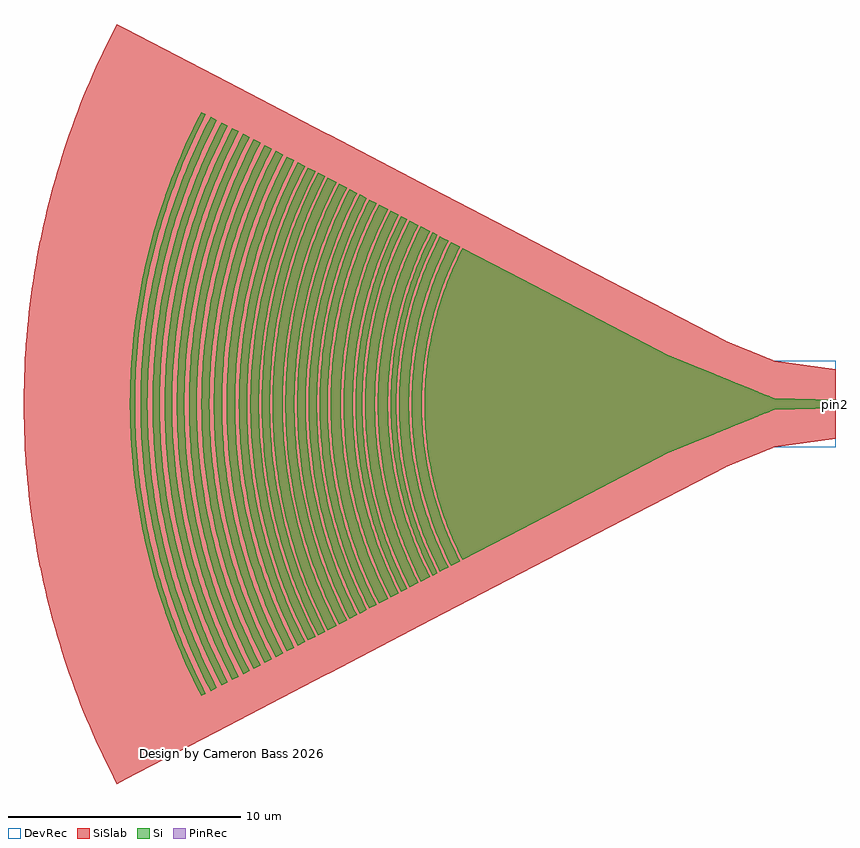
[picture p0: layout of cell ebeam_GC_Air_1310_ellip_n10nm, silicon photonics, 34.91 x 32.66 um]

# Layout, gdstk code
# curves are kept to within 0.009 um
import gdstk
lib = gdstk.Library(unit=1e-6, precision=1e-09)
def P(c, l, *ps):  # polygons
    for p in ps: c.add(gdstk.Polygon(p, *l))
Si = (1, 0)
PinRec = (1, 10)
SiSlab = (2, 0)
DevRec = (68, 0)

ebeam_gc_air_1310_ellip_ = lib.new_cell('ebeam_GC_Air_1310_ellip_n10nm')
P(ebeam_gc_air_1310_ellip_, Si, [(-16.044,-6.702),(-16.401,-5.965),(-16.775,-5.049),(-17.003,-4.381),(-17.268,-3.429),(-17.444,-2.599),(-17.571,-1.762),(-17.649,-0.917),(-17.677,-0.071),(-17.649,0.917),(-17.571,1.762),(-17.444,2.6),(-17.268,3.429),(-17.003,4.381),(-16.775,5.049),(-16.401,5.965),(-16.044,6.702),(-7.155,2.074),(-3.189,0.455),(-2.881,0.341),(-2.696,0.253),(-2.65,0.24),(0,0.175),(0,-0.175),(-2.68,-0.247),(-2.85,-0.328),(-3.204,-0.461),(-7.127,-2.061)],
  [(-16.536,-6.957),(-16.904,-6.195),(-17.241,-5.381),(-17.485,-4.69),(-17.769,-3.704),(-17.96,-2.844),(-18.1,-1.975),(-18.199,-0.953),(-18.229,-0.073),(-18.208,0.806),(-18.118,1.83),(-17.987,2.7),(-17.804,3.561),(-17.572,4.41),(-17.292,5.245),(-16.904,6.195),(-16.536,6.958),(-16.151,6.758),(-16.51,6.014),(-16.837,5.225),(-17.118,4.418),(-17.385,3.457),(-17.562,2.622),(-17.69,1.776),(-17.777,0.784),(-17.797,0.071),(-17.777,-0.784),(-17.69,-1.776),(-17.562,-2.621),(-17.385,-3.457),(-17.118,-4.418),(-16.837,-5.225),(-16.51,-6.014),(-16.151,-6.758)],
  [(-17.017,-7.208),(-17.398,-6.419),(-17.747,-5.576),(-18,-4.859),(-18.294,-3.837),(-18.491,-2.947),(-18.636,-2.047),(-18.729,-1.139),(-18.756,-0.683),(-18.77,-0.076),(-18.748,0.835),(-18.673,1.745),(-18.616,2.198),(-18.519,2.797),(-18.33,3.69),(-18.09,4.569),(-17.8,5.434),(-17.398,6.419),(-17.017,7.208),(-16.642,7.014),(-17.073,6.109),(-17.404,5.287),(-17.688,4.445),(-17.922,3.589),(-18.105,2.722),(-18.238,1.844),(-18.319,0.961),(-18.349,0.074),(-18.328,-0.813),(-18.238,-1.844),(-18.105,-2.722),(-17.922,-3.589),(-17.688,-4.445),(-17.404,-5.286),(-17.073,-6.109),(-16.642,-7.014)],
  [(-17.337,-7.375),(-17.727,-6.567),(-18.084,-5.705),(-18.343,-4.972),(-18.644,-3.926),(-18.846,-3.015),(-18.927,-2.555),(-19.014,-1.94),(-19.1,-1.01),(-19.131,-0.078),(-19.109,0.855),(-19.014,1.94),(-18.874,2.862),(-18.681,3.776),(-18.435,4.675),(-18.139,5.559),(-17.971,5.995),(-17.727,6.568),(-17.337,7.375),(-17.124,7.264),(-17.569,6.328),(-17.803,5.763),(-17.964,5.332),(-18.114,4.897),(-18.292,4.311),(-18.411,3.867),(-18.549,3.27),(-18.713,2.366),(-18.809,1.606),(-18.868,0.843),(-18.89,0.077),(-18.868,-0.843),(-18.809,-1.606),(-18.713,-2.366),(-18.549,-3.27),(-18.292,-4.311),(-18.114,-4.897),(-17.964,-5.331),(-17.803,-5.762),(-17.569,-6.328),(-17.124,-7.264)],
  [(-17.833,-7.633),(-18.301,-6.65),(-18.662,-5.754),(-18.969,-4.839),(-19.223,-3.908),(-19.423,-2.962),(-19.567,-2.008),(-19.656,-1.045),(-19.689,-0.08),(-19.665,0.886),(-19.586,1.848),(-19.451,2.804),(-19.33,3.437),(-19.223,3.908),(-18.969,4.839),(-18.662,5.754),(-18.488,6.205),(-18.236,6.798),(-17.833,7.633),(-17.444,7.431),(-17.9,6.474),(-18.195,5.749),(-18.505,4.86),(-18.761,3.956),(-18.993,2.884),(-19.133,1.954),(-19.197,1.331),(-19.229,0.862),(-19.251,0.078),(-19.229,-0.862),(-19.197,-1.331),(-19.133,-1.954),(-18.993,-2.884),(-18.798,-3.803),(-18.681,-4.259),(-18.505,-4.86),(-18.195,-5.749),(-17.9,-6.474),(-17.444,-7.431)],
  [(-18.313,-7.883),(-18.73,-7.019),(-18.99,-6.407),(-19.169,-5.942),(-19.487,-4.997),(-19.749,-4.035),(-19.955,-3.059),(-20.105,-2.073),(-20.196,-1.08),(-20.23,-0.083),(-20.206,0.914),(-20.124,1.908),(-19.984,2.895),(-19.788,3.874),(-19.625,4.518),(-19.487,4.997),(-19.169,5.943),(-18.99,6.407),(-18.73,7.02),(-18.313,7.883),(-17.941,7.69),(-18.347,6.847),(-18.539,6.401),(-18.775,5.797),(-19.086,4.875),(-19.342,3.936),(-19.543,2.984),(-19.688,2.022),(-19.778,1.054),(-19.811,0.081),(-19.787,-0.891),(-19.707,-1.861),(-19.571,-2.825),(-19.482,-3.303),(-19.342,-3.935),(-19.221,-4.407),(-19.038,-5.029),(-18.718,-5.949),(-18.347,-6.847),(-17.941,-7.69)],
  [(-18.675,-8.071),(-18.96,-7.495),(-19.171,-7.03),(-19.552,-6.084),(-19.877,-5.116),(-20.146,-4.131),(-20.357,-3.132),(-20.51,-2.122),(-20.604,-1.105),(-20.638,-0.085),(-20.614,0.935),(-20.53,1.954),(-20.387,2.964),(-20.259,3.633),(-20.146,4.131),(-19.877,5.116),(-19.552,6.084),(-19.171,7.031),(-18.96,7.496),(-18.675,8.071),(-18.42,7.94),(-18.7,7.373),(-18.974,6.762),(-19.339,5.827),(-19.503,5.352),(-19.697,4.712),(-19.827,4.226),(-19.978,3.574),(-20.157,2.585),(-20.262,1.755),(-20.327,0.921),(-20.351,0.084),(-20.327,-0.921),(-20.262,-1.755),(-20.157,-2.585),(-20.012,-3.41),(-19.906,-3.9),(-19.742,-4.55),(-19.554,-5.192),(-19.395,-5.669),(-19.163,-6.297),(-18.974,-6.762),(-18.7,-7.373),(-18.42,-7.939)],
  [(-19.133,-8.31),(-19.573,-7.399),(-19.848,-6.753),(-20.037,-6.263),(-20.371,-5.267),(-20.648,-4.253),(-20.865,-3.224),(-21.023,-2.185),(-21.119,-1.138),(-21.155,-0.088),(-21.145,0.614),(-21.119,1.138),(-21.023,2.185),(-20.865,3.224),(-20.648,4.253),(-20.371,5.267),(-20.037,6.263),(-19.644,7.239),(-19.427,7.717),(-19.133,8.31),(-18.783,8.128),(-19.213,7.236),(-19.481,6.605),(-19.665,6.126),(-19.994,5.151),(-20.265,4.159),(-20.477,3.154),(-20.631,2.137),(-20.725,1.114),(-20.76,0.086),(-20.735,-0.943),(-20.651,-1.967),(-20.507,-2.985),(-20.413,-3.49),(-20.265,-4.159),(-19.994,-5.151),(-19.781,-5.802),(-19.605,-6.286),(-19.213,-7.235),(-18.783,-8.128)],
  [(-19.632,-8.57),(-20.084,-7.632),(-20.499,-6.63),(-20.799,-5.778),(-20.958,-5.26),(-21.149,-4.563),(-21.383,-3.504),(-21.556,-2.434),(-21.666,-1.354),(-21.697,-0.814),(-21.715,-0.09),(-21.689,0.993),(-21.599,2.075),(-21.448,3.148),(-21.312,3.858),(-21.192,4.388),(-20.907,5.433),(-20.684,6.121),(-20.499,6.63),(-20.084,7.632),(-19.632,8.57),(-19.241,8.367),(-19.536,7.769),(-19.755,7.287),(-20.088,6.471),(-20.488,5.303),(-20.724,4.452),(-20.952,3.42),(-21.121,2.375),(-21.199,1.674),(-21.24,1.146),(-21.276,0.088),(-21.271,-0.441),(-21.24,-1.146),(-21.143,-2.199),(-20.985,-3.246),(-20.766,-4.281),(-20.488,-5.302),(-20.268,-5.973),(-20.088,-6.471),(-19.755,-7.287),(-19.241,-8.367)],
  [(-20.047,-8.786),(-20.512,-7.822),(-20.802,-7.14),(-21.002,-6.622),(-21.187,-6.098),(-21.355,-5.568),(-21.648,-4.497),(-21.878,-3.409),(-22.044,-2.31),(-22.146,-1.203),(-22.184,-0.093),(-22.157,1.018),(-22.066,2.126),(-21.996,2.678),(-21.878,3.409),(-21.648,4.497),(-21.355,5.568),(-21.187,6.098),(-21.002,6.622),(-20.587,7.653),(-20.357,8.159),(-20.047,8.786),(-19.743,8.628),(-19.968,8.176),(-20.272,7.516),(-20.55,6.844),(-20.741,6.332),(-20.974,5.643),(-21.179,4.945),(-21.356,4.239),(-21.472,3.705),(-21.629,2.81),(-21.743,1.907),(-21.814,1.001),(-21.84,0.091),(-21.83,-0.636),(-21.761,-1.726),(-21.656,-2.629),(-21.472,-3.705),(-21.356,-4.238),(-21.179,-4.945),(-20.974,-5.642),(-20.741,-6.332),(-20.55,-6.843),(-20.272,-7.515),(-20.046,-8.012),(-19.743,-8.628)],
  [(-20.467,-9.005),(-20.945,-8.015),(-21.381,-6.962),(-21.753,-5.887),(-22.064,-4.791),(-22.195,-4.237),(-22.345,-3.493),(-22.515,-2.367),(-22.62,-1.233),(-22.659,-0.095),(-22.631,1.043),(-22.537,2.179),(-22.378,3.306),(-22.274,3.866),(-22.109,4.608),(-21.809,5.706),(-21.637,6.248),(-21.381,6.962),(-20.945,8.015),(-20.467,9.005),(-20.155,8.843),(-20.467,8.21),(-20.772,7.53),(-21.05,6.839),(-21.241,6.312),(-21.417,5.782),(-21.627,5.067),(-21.81,4.343),(-21.928,3.797),(-22.089,2.879),(-22.206,1.954),(-22.278,1.025),(-22.305,0.093),(-22.287,-0.838),(-22.224,-1.769),(-22.089,-2.879),(-21.928,-3.797),(-21.81,-4.343),(-21.627,-5.067),(-21.417,-5.782),(-21.241,-6.312),(-21.05,-6.838),(-20.772,-7.53),(-20.467,-8.21),(-20.155,-8.843)],
  [(-20.902,-9.231),(-21.393,-8.213),(-21.839,-7.135),(-22.163,-6.218),(-22.389,-5.474),(-22.54,-4.91),(-22.674,-4.342),(-22.828,-3.579),(-23.003,-2.426),(-23.11,-1.263),(-23.149,-0.097),(-23.144,0.487),(-23.11,1.263),(-23.003,2.426),(-22.828,3.58),(-22.586,4.722),(-22.279,5.847),(-22.102,6.403),(-21.908,6.953),(-21.472,8.036),(-21.23,8.567),(-20.902,9.231),(-20.579,9.063),(-20.901,8.411),(-21.213,7.714),(-21.498,7.006),(-21.694,6.467),(-21.875,5.923),(-22.09,5.191),(-22.233,4.635),(-22.398,3.89),(-22.563,2.95),(-22.683,2.002),(-22.757,1.051),(-22.785,0.096),(-22.766,-0.859),(-22.702,-1.812),(-22.591,-2.76),(-22.398,-3.89),(-22.233,-4.635),(-22.09,-5.191),(-21.875,-5.923),(-21.694,-6.467),(-21.498,-7.006),(-21.213,-7.714),(-20.901,-8.411),(-20.579,-9.063)],
  [(-21.353,-9.466),(-21.69,-8.786),(-21.937,-8.24),(-22.169,-7.688),(-22.384,-7.13),(-22.583,-6.566),(-22.765,-5.996),(-23.08,-4.842),(-23.328,-3.671),(-23.507,-2.488),(-23.617,-1.295),(-23.646,-0.698),(-23.657,-0.1),(-23.652,0.499),(-23.617,1.296),(-23.507,2.488),(-23.328,3.671),(-23.08,4.842),(-22.765,5.996),(-22.384,7.131),(-22.169,7.689),(-21.937,8.241),(-21.69,8.786),(-21.353,9.466),(-21.009,9.287),(-21.255,8.795),(-21.582,8.084),(-21.809,7.543),(-22.087,6.811),(-22.278,6.256),(-22.506,5.507),(-22.704,4.749),(-22.874,3.986),(-23.043,3.023),(-23.166,2.051),(-23.242,1.076),(-23.27,0.098),(-23.251,-0.88),(-23.185,-1.857),(-23.072,-2.828),(-22.874,-3.985),(-22.704,-4.749),(-22.506,-5.507),(-22.338,-6.069),(-22.087,-6.811),(-21.809,-7.543),(-21.582,-8.084),(-21.339,-8.618),(-21.009,-9.287)],
  [(-21.841,-9.719),(-22.097,-9.208),(-22.439,-8.463),(-22.677,-7.896),(-22.898,-7.322),(-23.103,-6.744),(-23.289,-6.158),(-23.46,-5.567),(-23.613,-4.973),(-23.749,-4.373),(-23.867,-3.77),(-24.051,-2.555),(-24.164,-1.33),(-24.194,-0.717),(-24.205,-0.102),(-24.176,1.127),(-24.075,2.352),(-23.968,3.163),(-23.867,3.77),(-23.749,4.373),(-23.613,4.973),(-23.46,5.568),(-23.289,6.158),(-23.103,6.744),(-22.898,7.323),(-22.677,7.896),(-22.439,8.463),(-22.097,9.208),(-21.841,9.72),(-21.46,9.522),(-21.799,8.837),(-22.047,8.289),(-22.497,7.172),(-22.881,6.032),(-23.198,4.87),(-23.447,3.693),(-23.627,2.502),(-23.691,1.904),(-23.737,1.304),(-23.778,0.1),(-23.749,-1.104),(-23.691,-1.904),(-23.627,-2.502),(-23.447,-3.693),(-23.198,-4.87),(-22.881,-6.032),(-22.497,-7.172),(-22.047,-8.289),(-21.799,-8.837),(-21.46,-9.522)],
  [(-22.255,-9.935),(-22.517,-9.411),(-22.867,-8.65),(-23.336,-7.485),(-23.545,-6.892),(-23.736,-6.294),(-24.067,-5.083),(-24.326,-3.853),(-24.429,-3.233),(-24.514,-2.611),(-24.581,-1.986),(-24.63,-1.36),(-24.66,-0.733),(-24.672,-0.105),(-24.666,0.524),(-24.642,1.152),(-24.539,2.403),(-24.46,3.027),(-24.363,3.647),(-24.248,4.265),(-24.067,5.083),(-23.736,6.294),(-23.545,6.893),(-23.336,7.485),(-23.11,8.071),(-22.867,8.65),(-22.517,9.411),(-22.255,9.935),(-21.948,9.776),(-22.294,9.074),(-22.549,8.512),(-22.864,7.751),(-23.081,7.171),(-23.282,6.587),(-23.521,5.799),(-23.681,5.201),(-23.867,4.398),(-23.986,3.792),(-24.087,3.182),(-24.216,2.16),(-24.296,1.133),(-24.326,0.103),(-24.32,-0.515),(-24.296,-1.132),(-24.216,-2.16),(-24.087,-3.181),(-23.986,-3.792),(-23.867,-4.398),(-23.681,-5.201),(-23.521,-5.798),(-23.282,-6.586),(-23.081,-7.171),(-22.788,-7.942),(-22.549,-8.511),(-22.294,-9.074),(-21.948,-9.776)],
  [(-22.689,-10.161),(-22.959,-9.623),(-23.317,-8.844),(-23.566,-8.252),(-23.797,-7.653),(-24.01,-7.047),(-24.205,-6.436),(-24.384,-5.818),(-24.544,-5.197),(-24.686,-4.57),(-24.809,-3.94),(-24.915,-3.306),(-25.002,-2.67),(-25.07,-2.031),(-25.12,-1.39),(-25.151,-0.75),(-25.163,-0.107),(-25.157,0.536),(-25.132,1.177),(-25.089,1.818),(-25.027,2.457),(-24.946,3.095),(-24.847,3.729),(-24.686,4.57),(-24.544,5.197),(-24.384,5.818),(-24.205,6.436),(-24.01,7.048),(-23.797,7.653),(-23.566,8.252),(-23.317,8.845),(-22.959,9.623),(-22.689,10.161),(-22.365,9.993),(-22.72,9.274),(-22.981,8.699),(-23.303,7.921),(-23.524,7.329),(-23.794,6.531),(-23.974,5.926),(-24.138,5.315),(-24.328,4.495),(-24.52,3.461),(-24.663,2.417),(-24.754,1.368),(-24.785,0.737),(-24.797,0.105),(-24.777,-0.947),(-24.74,-1.578),(-24.685,-2.207),(-24.553,-3.251),(-24.328,-4.495),(-24.138,-5.315),(-23.974,-5.926),(-23.794,-6.531),(-23.524,-7.329),(-23.303,-7.921),(-22.981,-8.699),(-22.72,-9.274),(-22.365,-9.993)],
  [(-23.121,-10.386),(-23.495,-9.633),(-23.766,-9.035),(-24.02,-8.43),(-24.257,-7.817),(-24.475,-7.199),(-24.674,-6.574),(-24.856,-5.944),(-25.02,-5.309),(-25.165,-4.669),(-25.292,-4.025),(-25.488,-2.728),(-25.558,-2.075),(-25.609,-1.42),(-25.641,-0.766),(-25.653,-0.109),(-25.647,0.547),(-25.622,1.202),(-25.577,1.857),(-25.514,2.51),(-25.431,3.162),(-25.292,4.025),(-25.165,4.669),(-25.02,5.309),(-24.856,5.944),(-24.674,6.574),(-24.475,7.2),(-24.257,7.818),(-24.02,8.43),(-23.766,9.035),(-23.495,9.633),(-23.121,10.386),(-22.813,10.227),(-23.178,9.486),(-23.531,8.701),(-23.775,8.103),(-24.001,7.497),(-24.277,6.681),(-24.462,6.062),(-24.681,5.228),(-24.824,4.598),(-25.021,3.54),(-25.114,2.9),(-25.189,2.258),(-25.272,1.185),(-25.304,0.108),(-25.283,-0.969),(-25.245,-1.614),(-25.189,-2.258),(-25.021,-3.54),(-24.824,-4.598),(-24.681,-5.228),(-24.462,-6.062),(-24.277,-6.681),(-24.001,-7.497),(-23.775,-8.103),(-23.445,-8.898),(-23.178,-9.486),(-22.813,-10.226)],
  [(-23.59,-10.631),(-23.879,-10.055),(-24.163,-9.447),(-24.429,-8.83),(-24.677,-8.206),(-25.05,-7.152),(-25.248,-6.511),(-25.484,-5.648),(-25.639,-4.994),(-25.774,-4.337),(-25.926,-3.454),(-26.017,-2.79),(-26.088,-2.122),(-26.14,-1.453),(-26.173,-0.783),(-26.186,-0.112),(-26.179,0.56),(-26.153,1.231),(-26.108,1.9),(-26.043,2.568),(-25.958,3.234),(-25.854,3.897),(-25.686,4.776),(-25.537,5.431),(-25.37,6.08),(-25.183,6.725),(-24.979,7.365),(-24.756,7.997),(-24.514,8.623),(-24.254,9.242),(-23.976,9.854),(-23.59,10.631),(-23.271,10.465),(-23.648,9.702),(-23.921,9.101),(-24.177,8.492),(-24.49,7.668),(-24.705,7.043),(-24.962,6.2),(-25.133,5.562),(-25.332,4.703),(-25.534,3.62),(-25.683,2.528),(-25.746,1.871),(-25.791,1.212),(-25.823,0.11),(-25.802,-0.991),(-25.764,-1.651),(-25.706,-2.309),(-25.534,-3.62),(-25.332,-4.703),(-25.186,-5.347),(-24.962,-6.2),(-24.705,-7.042),(-24.49,-7.667),(-24.177,-8.492),(-23.921,-9.101),(-23.648,-9.702),(-23.271,-10.465)],
  [(-24.073,-10.882),(-24.372,-10.287),(-24.662,-9.664),(-24.935,-9.033),(-25.189,-8.395),(-25.424,-7.751),(-25.707,-6.88),(-25.898,-6.22),(-26.069,-5.556),(-26.221,-4.886),(-26.354,-4.212),(-26.467,-3.534),(-26.56,-2.854),(-26.633,-2.171),(-26.686,-1.486),(-26.72,-0.801),(-26.733,-0.114),(-26.726,0.573),(-26.7,1.258),(-26.653,1.943),(-26.56,2.855),(-26.467,3.534),(-26.354,4.212),(-26.221,4.886),(-26.069,5.556),(-25.898,6.22),(-25.707,6.88),(-25.498,7.534),(-25.269,8.182),(-25.021,8.822),(-24.755,9.455),(-24.471,10.08),(-24.073,10.882),(-23.759,10.719),(-24.051,10.135),(-24.337,9.522),(-24.605,8.901),(-24.934,8.062),(-25.159,7.423),(-25.432,6.563),(-25.613,5.912),(-25.826,5.034),(-25.962,4.372),(-26.08,3.706),(-26.233,2.588),(-26.331,1.465),(-26.364,0.789),(-26.377,0.113),(-26.355,-1.014),(-26.315,-1.69),(-26.257,-2.364),(-26.178,-3.036),(-26.08,-3.706),(-25.873,-4.814),(-25.724,-5.473),(-25.494,-6.346),(-25.231,-7.209),(-25.011,-7.849),(-24.774,-8.483),(-24.428,-9.316),(-24.051,-10.135),(-23.759,-10.719)],
  [(-24.543,-11.127),(-24.851,-10.515),(-25.148,-9.878),(-25.427,-9.233),(-25.686,-8.581),(-25.927,-7.922),(-26.147,-7.256),(-26.411,-6.358),(-26.587,-5.679),(-26.742,-4.994),(-26.878,-4.305),(-26.993,-3.612),(-27.088,-2.918),(-27.163,-2.219),(-27.218,-1.519),(-27.252,-0.819),(-27.265,-0.117),(-27.252,0.819),(-27.218,1.52),(-27.163,2.22),(-27.088,2.918),(-26.993,3.613),(-26.878,4.305),(-26.742,4.994),(-26.587,5.679),(-26.411,6.358),(-26.216,7.032),(-26.002,7.701),(-25.768,8.363),(-25.515,9.017),(-25.243,9.664),(-24.952,10.304),(-24.543,11.127),(-24.24,10.97),(-24.642,10.159),(-24.929,9.529),(-25.282,8.677),(-25.525,8.028),(-25.821,7.154),(-26.019,6.492),(-26.199,5.822),(-26.407,4.924),(-26.619,3.791),(-26.775,2.647),(-26.876,1.499),(-26.909,0.807),(-26.922,0.115),(-26.916,-0.576),(-26.889,-1.268),(-26.799,-2.418),(-26.719,-3.105),(-26.619,-3.791),(-26.407,-4.924),(-26.199,-5.822),(-26.019,-6.491),(-25.821,-7.154),(-25.525,-8.028),(-25.282,-8.677),(-24.929,-9.529),(-24.642,-10.159),(-24.24,-10.97)],
  [(-25.016,-11.373),(-25.332,-10.745),(-25.636,-10.095),(-25.92,-9.436),(-26.186,-8.769),(-26.431,-8.096),(-26.656,-7.415),(-26.863,-6.727),(-27.049,-6.034),(-27.214,-5.337),(-27.36,-4.634),(-27.484,-3.928),(-27.589,-3.219),(-27.672,-2.506),(-27.735,-1.791),(-27.786,-0.837),(-27.8,-0.12),(-27.793,0.598),(-27.765,1.314),(-27.716,2.03),(-27.647,2.744),(-27.556,3.456),(-27.404,4.399),(-27.265,5.104),(-27.106,5.803),(-26.927,6.497),(-26.727,7.187),(-26.509,7.87),(-26.27,8.546),(-26.011,9.215),(-25.636,10.095),(-25.332,10.745),(-25.016,11.373),(-24.72,11.22),(-25.133,10.387),(-25.426,9.743),(-25.7,9.091),(-26.036,8.209),(-26.265,7.54),(-26.476,6.864),(-26.666,6.183),(-26.888,5.265),(-27.116,4.109),(-27.225,3.409),(-27.314,2.707),(-27.383,2.003),(-27.431,1.297),(-27.465,0.118),(-27.458,-0.589),(-27.431,-1.297),(-27.339,-2.472),(-27.191,-3.643),(-27.075,-4.341),(-26.938,-5.035),(-26.725,-5.953),(-26.541,-6.637),(-26.266,-7.54),(-26.036,-8.209),(-25.7,-9.091),(-25.426,-9.743),(-25.133,-10.387),(-24.72,-11.219)],
  [(-25.478,-11.613),(-25.801,-10.971),(-26.111,-10.307),(-26.401,-9.634),(-26.672,-8.953),(-27.08,-7.803),(-27.364,-6.869),(-27.554,-6.162),(-27.775,-5.211),(-27.916,-4.492),(-28.037,-3.769),(-28.136,-3.044),(-28.214,-2.316),(-28.271,-1.585),(-28.306,-0.855),(-28.321,-0.122),(-28.306,0.855),(-28.271,1.585),(-28.214,2.316),(-28.136,3.044),(-28.037,3.769),(-27.916,4.492),(-27.775,5.211),(-27.612,5.925),(-27.429,6.634),(-27.226,7.337),(-27.003,8.035),(-26.758,8.726),(-26.494,9.408),(-26.21,10.084),(-25.801,10.971),(-25.478,11.613),(-25.194,11.466),(-25.617,10.614),(-25.916,9.956),(-26.286,9.066),(-26.54,8.388),(-26.849,7.475),(-27.056,6.783),(-27.244,6.083),(-27.411,5.38),(-27.557,4.672),(-27.683,3.961),(-27.846,2.766),(-27.916,2.047),(-27.965,1.326),(-28,0.121),(-27.977,-1.084),(-27.935,-1.806),(-27.872,-2.526),(-27.788,-3.244),(-27.683,-3.96),(-27.462,-5.144),(-27.302,-5.849),(-27.056,-6.782),(-26.849,-7.475),(-26.54,-8.388),(-26.286,-9.066),(-25.916,-9.956),(-25.617,-10.614),(-25.194,-11.466)],
  [(-25.943,-11.855),(-26.273,-11.199),(-26.59,-10.521),(-26.886,-9.835),(-27.163,-9.14),(-27.419,-8.438),(-27.654,-7.728),(-27.869,-7.012),(-28.063,-6.289),(-28.288,-5.319),(-28.433,-4.585),(-28.555,-3.847),(-28.657,-3.107),(-28.737,-2.364),(-28.795,-1.618),(-28.831,-0.872),(-28.845,-0.125),(-28.831,0.872),(-28.795,1.618),(-28.737,2.364),(-28.657,3.108),(-28.555,3.849),(-28.433,4.585),(-28.288,5.319),(-28.122,6.048),(-27.936,6.772),(-27.728,7.49),(-27.5,8.202),(-27.251,8.906),(-26.981,9.604),(-26.59,10.521),(-26.273,11.199),(-25.943,11.856),(-25.664,11.711),(-25.99,11.062),(-26.402,10.168),(-26.688,9.487),(-27.039,8.566),(-27.354,7.634),(-27.567,6.927),(-27.758,6.213),(-27.981,5.254),(-28.206,4.045),(-28.373,2.825),(-28.445,2.09),(-28.495,1.354),(-28.531,0.123),(-28.523,-0.615),(-28.495,-1.354),(-28.399,-2.58),(-28.313,-3.313),(-28.206,-4.044),(-27.981,-5.254),(-27.817,-5.974),(-27.567,-6.926),(-27.279,-7.868),(-27.039,-8.566),(-26.688,-9.487),(-26.402,-10.167),(-25.99,-11.061),(-25.664,-11.711)],
  [(-26.402,-12.094),(-26.739,-11.424),(-27.062,-10.733),(-27.364,-10.032),(-27.646,-9.323),(-27.908,-8.607),(-28.147,-7.883),(-28.366,-7.152),(-28.564,-6.417),(-28.74,-5.674),(-28.895,-4.927),(-29.028,-4.176),(-29.138,-3.422),(-29.227,-2.664),(-29.294,-1.904),(-29.348,-0.89),(-29.363,-0.127),(-29.355,0.636),(-29.326,1.397),(-29.274,2.158),(-29.2,2.918),(-29.104,3.674),(-28.942,4.677),(-28.794,5.426),(-28.625,6.17),(-28.435,6.908),(-28.223,7.641),(-27.99,8.367),(-27.736,9.085),(-27.461,9.797),(-27.062,10.733),(-26.739,11.424),(-26.402,12.094),(-26.133,11.955),(-26.575,11.065),(-26.887,10.379),(-27.179,9.684),(-27.451,8.982),(-27.782,8.032),(-28.006,7.312),(-28.271,6.342),(-28.445,5.609),(-28.598,4.871),(-28.729,4.129),(-28.899,2.884),(-29.009,1.633),(-29.045,0.879),(-29.06,0.126),(-29.052,-0.628),(-29.023,-1.381),(-28.926,-2.634),(-28.838,-3.382),(-28.729,-4.129),(-28.598,-4.871),(-28.445,-5.609),(-28.271,-6.342),(-28.006,-7.312),(-27.782,-8.031),(-27.537,-8.744),(-27.272,-9.451),(-26.887,-10.379),(-26.575,-11.065),(-26.133,-11.955)],
  [(-26.872,-12.339),(-27.321,-11.435),(-27.643,-10.726),(-27.945,-10.007),(-28.226,-9.28),(-28.485,-8.547),(-28.722,-7.805),(-28.938,-7.056),(-29.133,-6.302),(-29.305,-5.542),(-29.455,-4.778),(-29.583,-4.009),(-29.689,-3.238),(-29.771,-2.463),(-29.832,-1.686),(-29.87,-0.909),(-29.885,-0.13),(-29.87,0.909),(-29.832,1.686),(-29.771,2.463),(-29.689,3.238),(-29.583,4.01),(-29.455,4.778),(-29.305,5.543),(-29.133,6.302),(-28.938,7.056),(-28.722,7.805),(-28.485,8.547),(-28.226,9.281),(-27.945,10.007),(-27.643,10.726),(-27.321,11.435),(-26.872,12.34),(-26.6,12.199),(-27.051,11.29),(-27.37,10.59),(-27.668,9.881),(-27.945,9.164),(-28.202,8.438),(-28.511,7.46),(-28.718,6.72),(-28.959,5.723),(-29.207,4.465),(-29.326,3.705),(-29.423,2.942),(-29.497,2.177),(-29.549,1.41),(-29.587,0.128),(-29.562,-1.153),(-29.517,-1.921),(-29.45,-2.687),(-29.289,-3.959),(-29.162,-4.718),(-29.014,-5.472),(-28.782,-6.47),(-28.582,-7.214),(-28.362,-7.951),(-28.033,-8.922),(-27.763,-9.643),(-27.37,-10.59),(-27.051,-11.29),(-26.6,-12.198)],
  [(-27.27,-12.547),(-27.62,-11.849),(-27.955,-11.132),(-28.268,-10.406),(-28.56,-9.67),(-29,-8.428),(-29.306,-7.419),(-29.511,-6.655),(-29.693,-5.886),(-29.853,-5.111),(-29.991,-4.331),(-30.106,-3.55),(-30.223,-2.501),(-30.279,-1.793),(-30.323,-0.923),(-30.338,-0.132),(-30.33,0.659),(-30.3,1.449),(-30.246,2.239),(-30.139,3.288),(-30.032,4.071),(-29.902,4.852),(-29.749,5.628),(-29.574,6.4),(-29.377,7.165),(-29.157,7.925),(-28.917,8.679),(-28.653,9.424),(-28.368,10.162),(-27.955,11.133),(-27.62,11.85),(-27.27,12.547),(-27.079,12.448),(-27.418,11.77),(-27.75,11.059),(-28.16,10.095),(-28.443,9.362),(-28.705,8.621),(-28.946,7.873),(-29.232,6.865),(-29.42,6.102),(-29.685,4.82),(-29.814,4.045),(-29.92,3.266),(-30.004,2.485),(-30.065,1.702),(-30.103,0.916),(-30.118,0.131),(-30.093,-1.178),(-30.047,-1.963),(-29.978,-2.745),(-29.887,-3.525),(-29.773,-4.304),(-29.637,-5.077),(-29.478,-5.846),(-29.297,-6.611),(-29.094,-7.37),(-28.788,-8.372),(-28.533,-9.115),(-28.257,-9.852),(-27.856,-10.819),(-27.531,-11.534),(-27.079,-12.448)])
P(ebeam_gc_air_1310_ellip_, SiSlab, [(-30.904,-16.329),(-31.366,-15.41),(-31.801,-14.477),(-32.208,-13.533),(-32.588,-12.577),(-32.94,-11.61),(-33.264,-10.634),(-33.559,-9.648),(-33.825,-8.655),(-34.062,-7.654),(-34.27,-6.647),(-34.449,-5.634),(-34.598,-4.616),(-34.717,-3.594),(-34.807,-2.569),(-34.867,-1.543),(-34.9,-0.171),(-34.89,0.857),(-34.85,1.885),(-34.781,2.912),(-34.681,3.935),(-34.552,4.956),(-34.393,5.972),(-34.135,7.319),(-33.907,8.322),(-33.651,9.318),(-33.365,10.307),(-33.051,11.286),(-32.709,12.256),(-32.338,13.216),(-31.94,14.164),(-31.366,15.41),(-30.904,16.329),(-4.744,2.708),(-2.65,1.855),(0,1.5),(0,-1.5),(-2.65,-1.855),(-4.728,-2.7)])
P(ebeam_gc_air_1310_ellip_, DevRec, [(-30.904,-16.329),(-31.366,-15.41),(-31.801,-14.477),(-32.208,-13.533),(-32.588,-12.577),(-32.94,-11.61),(-33.264,-10.634),(-33.559,-9.648),(-33.825,-8.655),(-34.062,-7.654),(-34.27,-6.647),(-34.449,-5.634),(-34.598,-4.616),(-34.717,-3.594),(-34.807,-2.569),(-34.867,-1.543),(-34.9,-0.171),(-34.89,0.857),(-34.85,1.885),(-34.781,2.912),(-34.681,3.935),(-34.552,4.956),(-34.393,5.972),(-34.135,7.319),(-33.907,8.322),(-33.651,9.318),(-33.365,10.307),(-33.051,11.286),(-32.709,12.256),(-32.338,13.216),(-31.94,14.164),(-31.366,15.41),(-30.904,16.329),(-4.744,2.708),(-2.65,1.855),(0,1.855),(0,-1.855),(-2.65,-1.855),(-4.728,-2.7)])
ebeam_gc_air_1310_ellip_.add(gdstk.FlexPath([(-0.01,0),(0.01,0)], 0.35, ends="flush", simple_path=True, layer=1, datatype=10))  # PinRec
ebeam_gc_air_1310_ellip_.add(gdstk.Label('pin2', (0,0), layer=1, texttype=10))
ebeam_gc_air_1310_ellip_.add(gdstk.Label('Design by Cameron Bass 2026', (-25.94,-15.02), layer=10, texttype=0))

lib.write_gds('ebeam_GC_Air_1310_ellip_n10nm.gds')
